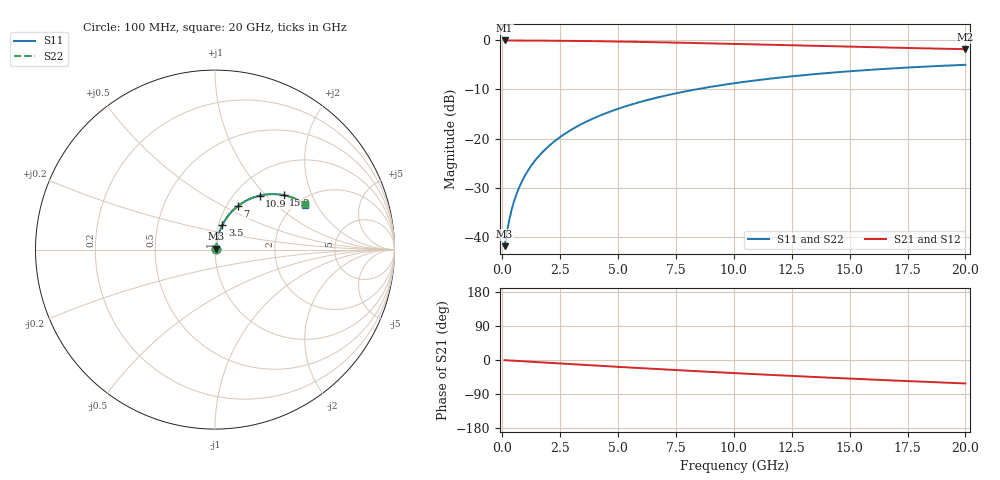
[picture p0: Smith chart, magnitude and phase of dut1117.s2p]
! Touchstone file exported from HFSS 2026.1.0
!  File:  C:/ffzhzh/LocalFiles/Ansys_Project_Files/temp_train_TMRDL_1117_1783161524_51560.aedt
!  Generated:  06:40:10 PM Jul  4, 2026
!  Design:  TMRDL
!  Project:  temp_train_TMRDL_1117_1783161524_51560
! Variables:
!  h_bsmrdl = 2um
!  h_ox = 20um
!  h_rdl = 5um
!  h_sub = 80um
!  h_tmrdl = 3.47um
!  h_tsv = 80um
!  h_via = 3um
!  l_bsmrdl = 300um
!  l_sub = 1360.63um
!  l_tmrdl = 960.63um
!  m_sub = 200um
!  pitch = 42.36um
!  r_tsv = 6um
!  s_tmrdl = 10um
!  w_bsmrdl = 18um
!  w_sub = 500um
!  w_tmrdl = 14.42um
!  x_tsv_center1 = 967.84um
!  x_tsv_center2 = 1285.84um
!  x_tsv_center3 = 2260.89um
!  x_tsv_center4 = 2578.89um
!  x_tsv_center5 = 3553.94um
!  x_tsv_center6 = 3871.94um
# GHz S MA R 50.000000
! Terminal data exported
! Port[1] = TM_RDL1_1_T1
! Port[2] = TM_RDL1_1_T2
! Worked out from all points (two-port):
!   200 points, 100 MHz to 20 GHz, reference 50 ohm
!   highest |S21| = -0.06 dB at 100 MHz (marker M1); lowest = -1.8 dB at 20 GHz (marker M2)
!   |S21| within 3 dB of the highest: start of sweep to end of sweep
!   lowest |S11| = -41.8 dB at 100 MHz (marker M3), VSWR 1.02, Z = 50.7 + j0.447 ohm
!   |S11| at or under -10 dB: start of sweep to 8.355 GHz
!   |S22| runs from -41.8 to -5.0 dB; largest |S21 - S12| = 2.7e-15
!   S11 on the Smith chart (normalised r, x): 100 MHz: 1.01, +0.01; 3.5 GHz: 1.04, +0.29; 7 GHz: 1.13, +0.59; 10.9 GHz: 1.29, +0.92; 15.2 GHz: 1.61, +1.28; 20 GHz: 2.21, +1.62
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0.1  0.008128 32.8  0.9932 -0.4  0.9932 -0.4  0.008128 32.8
! Gamma 0 0 0 0
! Port Impedance 50 0 50 0
0.2  0.01125 51.2  0.993 -0.8  0.993 -0.8  0.01125 51.2
0.3  0.01498 60.5  0.9928 -1.1  0.9928 -1.1  0.01498 60.5
0.4  0.0189 65.8  0.9925 -1.5  0.9925 -1.5  0.0189 65.8
0.5  0.02288 69.1  0.9923 -1.9  0.9923 -1.9  0.02288 69.1
0.6  0.02689 71.3  0.9921 -2.3  0.9921 -2.3  0.02689 71.3
0.8  0.03497 74.1  0.9916 -3.0  0.9916 -3.0  0.03497 74.1
1.1  0.04716 76.1  0.9908 -4.1  0.9908 -4.1  0.04716 76.1
1.6  0.06756 77.0  0.9894 -5.9  0.9894 -5.9  0.06756 77.0
2.1  0.08792 76.6  0.9875 -7.7  0.9875 -7.7  0.08792 76.6
2.7  0.1122 75.5  0.9847 -9.9  0.9847 -9.9  0.1122 75.5
3.5  0.1439 73.4  0.98 -12.8  0.98 -12.8  0.1439 73.4
5  0.2013 68.8  0.9687 -18.1  0.9687 -18.1  0.2013 68.8
6.8  0.2655 63.1  0.9517 -24.2  0.9517 -24.2  0.2655 63.1
7  0.2722 62.4  0.9497 -24.9  0.9497 -24.9  0.2722 62.5
8.5  0.3207 57.7  0.9335 -29.8  0.9335 -29.8  0.3207 57.7
10.1  0.3679 52.8  0.9151 -34.9  0.9151 -34.9  0.3679 52.9
10.9  0.3897 50.4  0.9058 -37.3  0.9058 -37.3  0.3897 50.5
13.4  0.4504 43.3  0.8768 -44.6  0.8768 -44.6  0.4504 43.4
15.2  0.4875 38.5  0.8567 -49.6  0.8567 -49.6  0.4875 38.5
16.7  0.5145 34.6  0.8409 -53.6  0.8409 -53.6  0.5145 34.7
20  0.5624 26.5  0.8103 -61.9  0.8103 -61.9  0.5624 26.6
